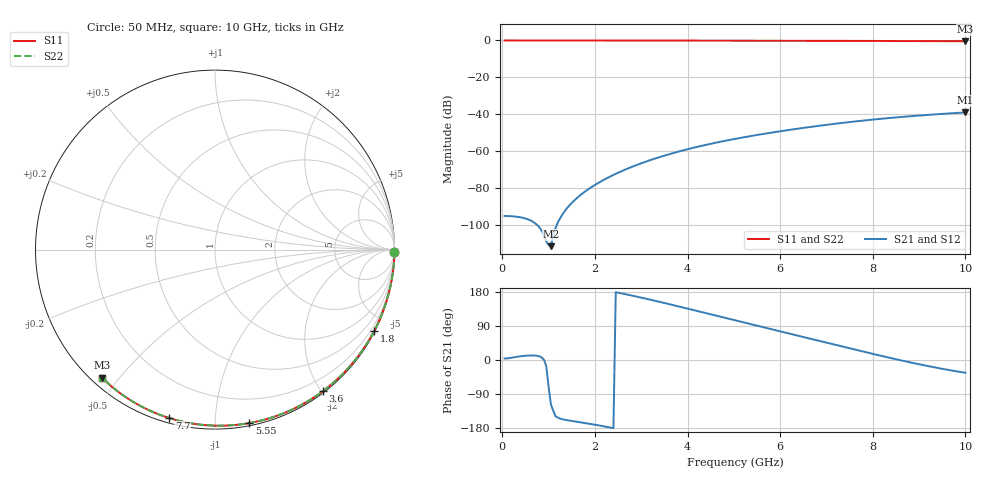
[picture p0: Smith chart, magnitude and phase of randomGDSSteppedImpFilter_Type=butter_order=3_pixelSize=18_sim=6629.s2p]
! freq	dB(S11)	phase(S11)	dB(S12)	phase(S12)
!  dB(S21)	phase(S21)	dB(S22)	phase(S22)
!S-par simulation data
#  GHz  S  DB  R 50
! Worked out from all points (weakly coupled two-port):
!   200 points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, 50 MHz to 10 GHz, reference 50 ohm
!   highest |S21| = -38.89 dB at 10 GHz (marker M1); lowest = -111.2 dB at 1.05 GHz (marker M2)
!   lowest |S11| = -0.4 dB at 10 GHz (marker M3), VSWR 41.20, Z = 1.46 - j22.5 ohm
!   |S11| at or under -10 dB: nowhere
!   |S22| runs from -0.4 to 0.0 dB; largest |S21 - S12| = 0
!   S11 on the Smith chart (normalised r, x): 50 MHz: open; 1.8 GHz: 0.04, -4.17; 3.6 GHz: 0.02, -2.02; 5.55 GHz: 0.02, -1.22; 7.7 GHz: 0.02, -0.76; 10 GHz: 0.03, -0.45
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0.05  -0.00 -0.8  -94.90 4.1  -94.90 4.1  -0.00 -0.8
0.55  -0.01 -8.4  -96.69 11.7  -96.69 11.7  -0.01 -8.3
1.05  -0.02 -15.9  -111.24 -117.6  -111.24 -117.6  -0.02 -15.8
1.75  -0.03 -26.2  -82.38 -165.7  -82.38 -165.7  -0.03 -26.2
1.8  -0.03 -27.0  -81.45 -166.7  -81.45 -166.7  -0.03 -26.9
1.85  -0.04 -27.7  -80.57 -167.7  -80.57 -167.7  -0.04 -27.6
1.9  -0.04 -28.4  -79.73 -168.7  -79.73 -168.7  -0.04 -28.4
2.05  -0.04 -30.6  -77.37 -171.8  -77.37 -171.8  -0.04 -30.6
2.25  -0.04 -33.6  -74.58 -176.3  -74.58 -176.3  -0.04 -33.5
2.65  -0.05 -39.3  -69.87 173.9  -69.87 173.9  -0.05 -39.2
3  -0.06 -44.3  -66.42 164.6  -66.42 164.6  -0.06 -44.2
3.4  -0.07 -50.0  -63.03 153.3  -63.03 153.3  -0.07 -49.8
3.6  -0.07 -52.7  -61.53 147.5  -61.53 147.5  -0.07 -52.6
4.3  -0.09 -62.3  -57.00 126.6  -57.00 126.6  -0.09 -62.2
5.05  -0.11 -72.3  -53.12 104.0  -53.12 104.0  -0.11 -72.1
5.55  -0.13 -78.8  -50.91 89.0  -50.91 89.0  -0.13 -78.6
6.1  -0.15 -85.8  -48.73 72.6  -48.73 72.6  -0.15 -85.5
6.7  -0.18 -93.2  -46.60 54.7  -46.60 54.7  -0.18 -92.9
7.7  -0.24 -105.2  -43.57 25.0  -43.57 25.0  -0.24 -104.9
8.35  -0.29 -112.8  -41.95 6.2  -41.95 6.2  -0.29 -112.5
9.15  -0.35 -122.0  -40.32 -15.0  -40.32 -15.0  -0.36 -121.7
10  -0.42 -131.5  -38.89 -33.7  -38.89 -33.7  -0.44 -131.3
